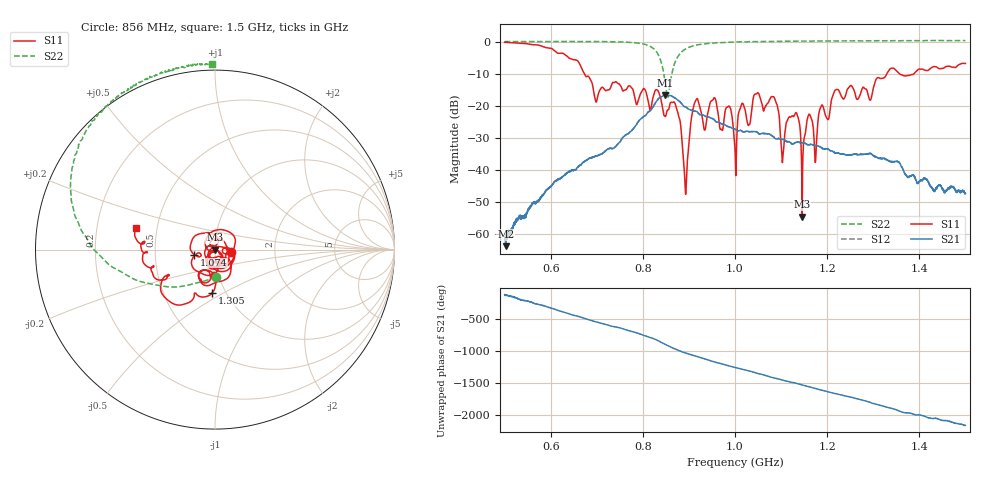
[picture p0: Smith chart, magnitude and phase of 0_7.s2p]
!Keysight Technologies,N5242B,MY48420860,A.13.80.08
!Date: Saturday, September 26, 2020 11:31:07
!Correction: S11(Full 2 Port(1,2))
!S21(Full 2 Port(1,2))
!S12(Full 2 Port(1,2))
!S22(Full 2 Port(1,2))
!S2P File: Measurements: S11, S21, S12, S22:
# Hz S  dB  R 50
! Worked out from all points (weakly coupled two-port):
!   2650 points, 500 MHz to 1.5 GHz, reference 50 ohm
!   highest |S21| = -16.63 dB at 847.7 MHz (marker M1); lowest = -63.7 dB at 502.3 MHz (marker M2)
!   lowest |S11| = -54.6 dB at 1.146 GHz (marker M3), VSWR 1.00, Z = 49.8 - j0.0579 ohm
!   |S11| at or under -10 dB: 672.8 MHz to 1.33 GHz (656.8 MHz wide, 65.6 % of centre); 1.357 GHz to 1.389 GHz (32.07 MHz wide, 2.34 % of centre)
!   |S22| runs from -17.5 to 0.3 dB; largest |S21 - S12| = 0.00055
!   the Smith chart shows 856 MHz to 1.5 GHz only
!   S11 on the Smith chart (normalised r, x): 856 MHz: 1.19, -0.03; 1.074 GHz: 0.79, -0.04; 1.305 GHz: 0.86, -0.44; 1.5 GHz: 0.38, +0.12
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5e8  -0.25 -166.4  -61.85 -110.5  -60.94 -110.2  -0.03 147.3
5.02265e8  -0.27 -167.6  -63.74 -121.0  -60.96 -116.7  -0.01 147.2
6.023028e8  -2.19 126.9  -44.92 36.1  -44.73 35.6  0.00 139.1
6.668554e8  -8.20 69.8  -38.20 -106.6  -38.22 -106.2  0.00 132.6
6.985655e8  -18.85 79.9  -35.64 -178.5  -35.65 -178.6  -0.01 128.7
8.337108e8  -15.55 2.6  -17.80 -114.3  -17.82 -114.3  -4.17 63.0
8.476784e8  -23.22 -10.7  -16.63 -166.3  -16.64 -166.4  -12.04 15.7
8.559834e8  -21.16 -7.7  -16.93 165.5  -16.95 165.5  -16.34 -87.7
8.767459e8  -22.63 -128.2  -18.33 97.1  -18.34 97.0  -4.51 -171.8
8.922235e8  -46.61 -39.1  -20.32 57.8  -20.32 57.7  -2.38 170.9
9.156285e8  -18.16 56.8  -21.76 4.6  -21.76 4.7  -1.10 156.2
9.869762e8  -20.10 -99.4  -26.56 -145.4  -26.58 -145.4  -0.22 137.7
1.000189e9  -34.21 -135.8  -27.30 -170.6  -27.31 -170.6  -0.15 135.6
1.013779e9  -19.74 -83.7  -27.77 165.2  -27.80 165.0  -0.07 133.7
1.074179e9  -18.42 -166.7  -28.81 47.3  -28.78 47.2  0.02 126.6
1.102869e9  -37.72 109.7  -30.52 -6.2  -30.50 -5.9  0.07 124.1
1.134202e9  -22.49 -77.0  -31.33 -59.7  -31.40 -59.9  0.12 121.1
1.145527e9  -54.58 -161.9  -31.52 -83.0  -31.53 -82.9  0.12 120.1
1.166667e9  -24.41 -117.8  -32.06 -123.6  -32.09 -123.7  0.12 118.3
1.304832e9  -12.26 -94.0  -35.83 -21.7  -35.86 -21.8  0.26 107.3
1.333522e9  -9.10 -119.7  -37.18 -78.4  -37.17 -78.9  0.28 104.9
1.5e9  -6.83 164.4  -47.39 4.6  -47.46 4.6  0.28 91.1
